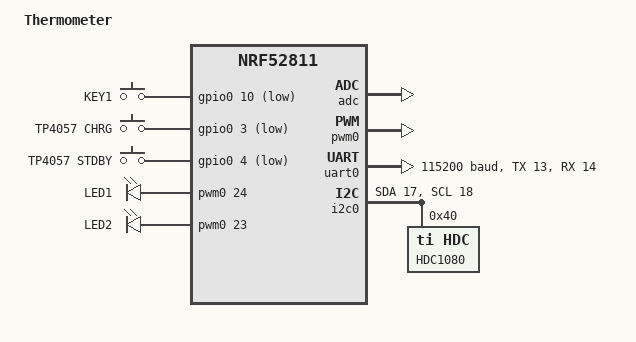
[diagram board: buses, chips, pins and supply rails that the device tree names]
/dts-v1/;
#include <nordic/nrf52811_qfaa.dtsi>

/ {
	model = "Thermometer";
	compatible = "nordic,nrf52840-dk-nrf52811";

	chosen {
		zephyr,console = &uart0;
		zephyr,shell-uart = &uart0;
		zephyr,uart-mcumgr = &uart0;
		zephyr,bt-mon-uart = &uart0;
		zephyr,bt-c2h-uart = &uart0;
		zephyr,sram = &sram0;
		zephyr,flash = &flash0;
		zephyr,code-partition = &slot0_partition;
		zephyr,entropy = &rng;
	};

	buttons {
		compatible = "gpio-keys";
		button0: button_0 {
			gpios = <&gpio0 10 (GPIO_PULL_UP | GPIO_ACTIVE_LOW)>;
			label = "KEY1";
		};
		charge: button_1 {
			gpios = <&gpio0 3 (GPIO_PULL_UP | GPIO_ACTIVE_LOW)>;
			label = "TP4057 CHRG";
		};
		standby: button_2 {
			gpios = <&gpio0 4 (GPIO_PULL_UP | GPIO_ACTIVE_LOW)>;
			label = "TP4057 STDBY";
		};
	};

	leds {
		compatible = "pwm-leds";
		pwm_led0: pwm_led_0 {
			pwms = <&pwm0 24>;
			label = "LED1";
		};
		pwm_led1: pwm_led_1 {
			pwms = <&pwm0 23>;
			label = "LED2";
		};
	};

	aliases {
		pwm-led0 = &pwm_led0;
		pwm-led1 = &pwm_led1;
		sw0 = &button0;
	};
};

&adc {
	status = "okay";
};

&pwm0 {
	status = "okay";

	ch0-pin = < 24 >;
	ch0-inverted;
	
	ch1-pin = < 23 >;
	ch1-inverted;
};

&gpiote {
	status = "okay";
};

&gpio0 {
	status = "okay";
};

&uart0 {
	compatible = "nordic,nrf-uarte";
	status = "okay";
	current-speed = <115200>;
	tx-pin = <13>;
	rx-pin = <14>;
	rx-pull-up;
};

&i2c0 {
	compatible = "nordic,nrf-twi";
	status = "okay";
	sda-pin = <17>;
	scl-pin = <18>;

	ti_hdc: ti_hdc@40 {
		compatible = "ti,hdc","ti,hdc1080";
		reg = <0x40>;
		label = "HDC1080";
	};
};

&flash0 {

	partitions {
		compatible = "fixed-partitions";
		#address-cells = <1>;
		#size-cells = <1>;

		boot_partition: partition@0 {
			label = "mcuboot";
			reg = <0x00000000 0xc000>;
		};
		slot0_partition: partition@c000 {
			label = "image-0";
			reg = <0x0000C000 0xd000>;
		};
		slot1_partition: partition@19000 {
			label = "image-1";
			reg = <0x00019000 0xd000>;
		};
		scratch_partition: partition@26000 {
			label = "image-scratch";
			reg = <0x00026000 0x3000>;
		};
		storage_partition: partition@29000 {
			label = "storage";
			reg = <0x00029000 0x00007000>;
		};
	};
};
